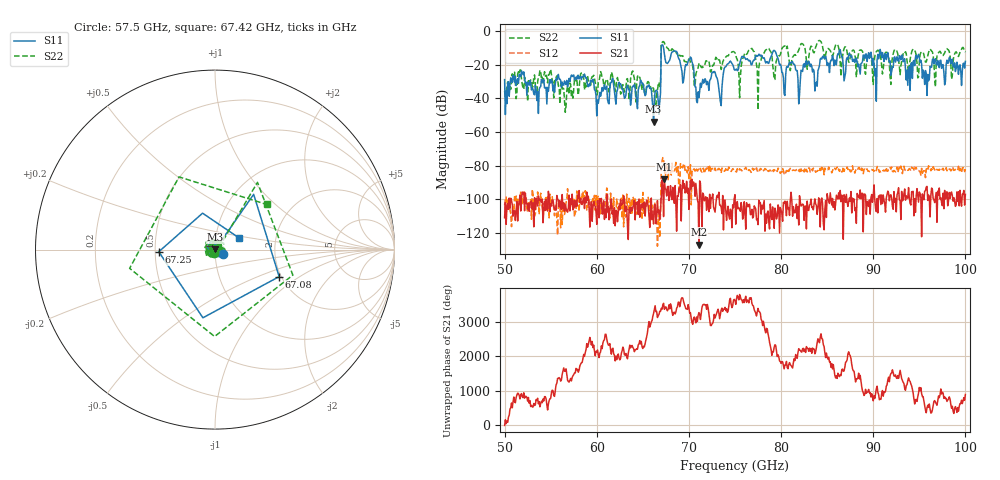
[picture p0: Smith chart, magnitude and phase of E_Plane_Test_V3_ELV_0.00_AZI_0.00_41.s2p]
! 11/26/2026 4:26:50 PM
! C:\ANRITSUVNA\TEMP\TEMP.S2P
! CHANNEL.1
! TR.MEASUREMENT
! RAW.DATA
# HZ S RI R 50.0
! FREQ.HZ  S11RE  S11IM  S21RE  S21IM  S12RE  S12IM  S22RE  S22IM
!; PortSelection: Port_12
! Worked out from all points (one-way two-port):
!   601 points, 50 GHz to 100 GHz, reference 50 ohm
!   highest |S21| = -88.09 dB at 67.33 GHz (marker M1); lowest = -127.0 dB at 71.08 GHz (marker M2)
!   lowest |S11| = -53.9 dB at 66.17 GHz (marker M3), VSWR 1.00, Z = 50.1 + j0.147 ohm
!   |S11| at or under -10 dB: start of sweep to 67 GHz; 67.25 GHz to end of sweep
!   |S22| runs from -48.3 to -5.6 dB; largest |S21 - S12| = 0.00019
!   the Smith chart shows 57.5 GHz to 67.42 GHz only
!   S11 on the Smith chart (normalised r, x): 57.5 GHz: 1.09, -0.05; 67.08 GHz: 1.95, -0.69; 67.25 GHz: 0.52, -0.01; 67.42 GHz: 1.29, +0.18
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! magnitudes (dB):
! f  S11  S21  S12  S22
! 50 GHz  -28.9  -111.1  -103.6  -35.6
! 57.5 GHz  -26.1  -105.2  -100.1  -34.6
! 58.42 GHz  -27.1  -103.2  -96.9  -24.8
! 60.17 GHz  -42.9  -108.1  -97.9  -30.3
! 66.17 GHz  -53.9  -114.8  -107.0  -34.0
! 66.67 GHz  -41.5  -108.1  -116.9  -31.6
! 67.08 GHz  -8.2  -88.6  -77.4  -6.8
! 67.25 GHz  -10.1  -110.3  -76.8  -6.3
! 67.33 GHz  -13.4  -88.1  -80.2  -6.9
! 67.42 GHz  -16.6  -93.6  -89.1  -8.3
! 70.25 GHz  -15.9  -93.9  -103.4  -18.7
! 71.08 GHz  -39.5  -127.0  -81.7  -19.6
! 75 GHz  -23.3  -97.3  -83.3  -13.0
! 77.58 GHz  -13.8  -100.6  -82.0  -21.8
! 78.5 GHz  -18.2  -108.2  -83.8  -10.8
! 79.33 GHz  -11.8  -105.3  -82.9  -28.7
! 80.25 GHz  -27.8  -101.9  -82.9  -9.4
! 83.42 GHz  -24.4  -104.8  -83.1  -10.8
! 91.67 GHz  -16.6  -96.4  -82.5  -15.2
! 94.83 GHz  -15.1  -97.7  -83.0  -27.9
! 95.83 GHz  -38.3  -92.4  -81.9  -16.5
! 100 GHz  -18.0  -97.2  -82.2  -12.5
